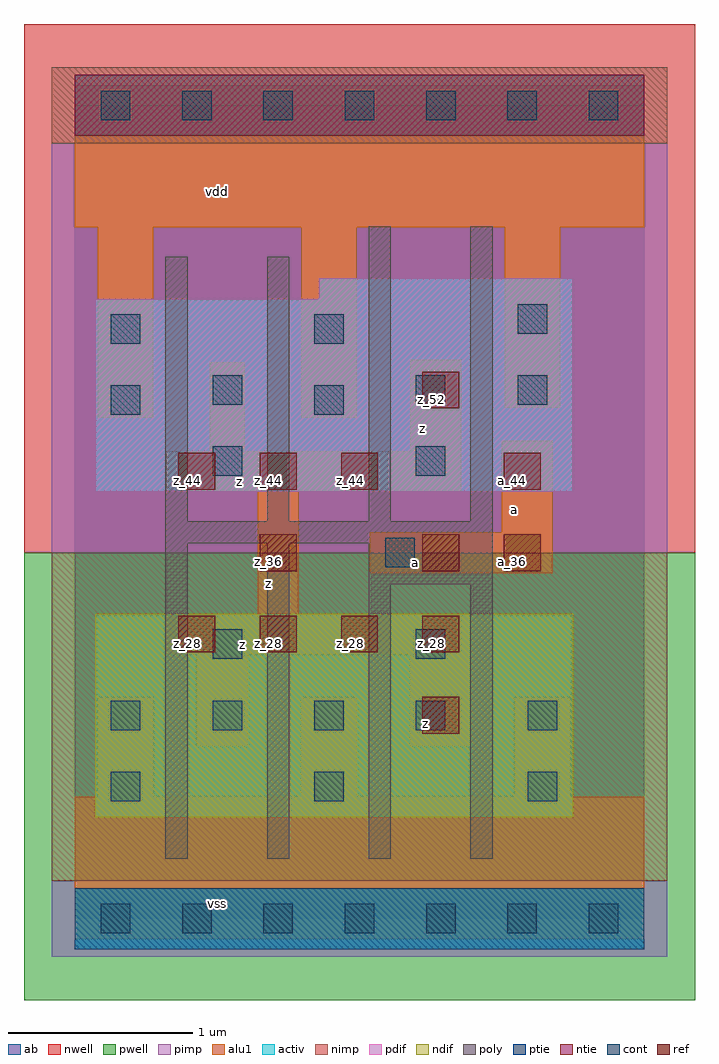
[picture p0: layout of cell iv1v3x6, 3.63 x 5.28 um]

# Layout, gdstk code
import gdstk
lib = gdstk.Library(unit=1e-6, precision=2.5e-09)
def R(c, l, rs):  # rectangles x0, y0, x1, y1
    for r in rs: c.add(gdstk.rectangle(r[:2], r[2:], *l))
def A(c, l, x, y, w, h, nx, ny, dx, dy):  # array of equal rectangles
    R(c, l, [(x+i*dx, y+j*dy, x+i*dx+w, y+j*dy+h) for i in range(nx) for j in range(ny)])
ndif = (3, 0)
pdif = (4, 0)
ntie = (5, 0)
ptie = (6, 0)
ref = (24, 0)
cont = (25, 0)
pwell = (41, 0)
nwell = (42, 0)
activ = (43, 0)
pimp = (44, 0)
nimp = (45, 0)
poly = (46, 0)
alu1 = (49, 0)
ab = (63, 0)

iv1v3x6 = lib.new_cell('iv1v3x6')
R(iv1v3x6, ndif, [(0.11,0.55,2.695,1.65)])
R(iv1v3x6, pdif, [(0.11,2.31,2.695,3.355), (1.32,3.355,2.695,3.465)])
R(iv1v3x6, ntie, [(0,4.235,3.08,4.565)])
R(iv1v3x6, ptie, [(0,-0.165,3.08,0.165)])
A(iv1v3x6, ref, 1.88, 1, 0.2, 0.2, 1, 3, 0, 0.88)
A(iv1v3x6, ref, 0.56, 1.44, 0.2, 0.2, 4, 1, 0.44, 0)
A(iv1v3x6, ref, 0.56, 2.32, 0.2, 0.2, 3, 1, 0.44, 0)
R(iv1v3x6, ref, [(1,1.88,1.2,2.08), (2.32,1.88,2.52,2.08), (2.32,2.32,2.52,2.52)])
A(iv1v3x6, cont, 0.14, -0.08, 0.16, 0.16, 7, 2, 0.44, 4.4)
A(iv1v3x6, cont, 0.195, 1.02, 0.16, 0.16, 4, 1, 0.55, 0)
R(iv1v3x6, cont, [(0.195,0.635,0.355,0.795), (1.295,0.635,1.455,0.795), (2.45,0.635,2.61,0.795), (2.45,1.02,2.61,1.18), (0.745,1.405,0.905,1.565), (1.845,1.405,2.005,1.565), (1.68,1.9,1.84,2.06), (0.745,2.395,0.905,2.555), (1.845,2.395,2.005,2.555), (0.195,2.725,0.355,2.885), (1.295,2.725,1.455,2.885), (0.745,2.78,0.905,2.94), (1.845,2.78,2.005,2.94), (2.395,2.78,2.555,2.94), (0.195,3.11,0.355,3.27), (1.295,3.11,1.455,3.27), (2.395,3.165,2.555,3.325)])
R(iv1v3x6, pwell, [(-0.275,-0.44,3.355,1.98)])
R(iv1v3x6, nwell, [(-0.275,1.98,3.355,4.84)])
R(iv1v3x6, activ, [(0,-0.165,3.08,0.165), (0.11,0.55,2.695,1.65), (0.11,2.31,2.695,3.355), (1.32,3.355,2.695,3.465), (0,4.235,3.08,4.565)])
R(iv1v3x6, pimp, [(-0.125,-0.205,3.205,0.205), (-0.125,1.98,3.205,4.195)])
R(iv1v3x6, nimp, [(-0.125,0.205,3.205,1.98), (-0.125,4.195,3.205,4.605)])
R(iv1v3x6, poly, [(0.49,0.325,0.61,2.03), (1.04,0.325,1.16,2.03), (1.59,0.325,1.71,1.81), (2.14,0.325,2.26,1.81), (1.59,1.81,2.26,2.03), (0.49,2.03,2.26,2.15), (0.49,2.15,0.61,3.58), (1.04,2.15,1.16,3.58), (1.59,2.15,1.71,3.745), (2.14,2.15,2.26,3.745)])
R(iv1v3x6, alu1, [(0,-0.11,3.08,0.66), (0.125,0.66,0.425,1.195), (1.225,0.66,1.525,1.195), (2.38,0.66,2.68,1.195), (0.66,0.935,0.935,1.43), (1.815,0.935,2.145,1.43), (0.495,1.43,2.145,1.65), (0.99,1.65,1.21,2.31), (1.595,1.87,2.585,2.09), (2.31,2.09,2.585,2.585), (0.495,2.31,2.09,2.53), (0.73,2.53,0.92,3.01), (1.815,2.53,2.09,3.025), (0.125,2.71,0.425,3.74), (1.225,2.71,1.525,3.74), (2.325,2.765,2.625,3.74), (0,3.74,3.08,4.51)])
R(iv1v3x6, ab, [(0,0,3.08,4.4)])
iv1v3x6.add(gdstk.Label('vss', (0.77,0.0825), layer=49, texttype=0))
iv1v3x6.add(gdstk.Label('z', (1.8975,1.0575), layer=49, texttype=0))
iv1v3x6.add(gdstk.Label('z', (0.9075,1.485), layer=49, texttype=0))
iv1v3x6.add(gdstk.Label('a', (1.8425,1.925), layer=49, texttype=0))
iv1v3x6.add(gdstk.Label('a', (2.3775,2.2125), layer=49, texttype=0))
iv1v3x6.add(gdstk.Label('z', (1.045,1.815), layer=49, texttype=0))
iv1v3x6.add(gdstk.Label('z', (0.8925,2.365), layer=49, texttype=0))
iv1v3x6.add(gdstk.Label('z', (1.8825,2.6525), layer=49, texttype=0))
iv1v3x6.add(gdstk.Label('vdd', (0.77,3.9325), layer=49, texttype=0))
iv1v3x6.add(gdstk.Label('z_28', (0.61,1.49), layer=24, texttype=0))
iv1v3x6.add(gdstk.Label('z_44', (0.61,2.37), layer=24, texttype=0))
iv1v3x6.add(gdstk.Label('z_28', (1.05,1.49), layer=24, texttype=0))
iv1v3x6.add(gdstk.Label('z_36', (1.05,1.93), layer=24, texttype=0))
iv1v3x6.add(gdstk.Label('z_44', (1.05,2.37), layer=24, texttype=0))
iv1v3x6.add(gdstk.Label('z_28', (1.49,1.49), layer=24, texttype=0))
iv1v3x6.add(gdstk.Label('z_44', (1.49,2.37), layer=24, texttype=0))
iv1v3x6.add(gdstk.Label('z_20', (1.93,1.05), layer=24, texttype=0))
iv1v3x6.add(gdstk.Label('z_28', (1.93,1.49), layer=24, texttype=0))
iv1v3x6.add(gdstk.Label('a_36', (1.93,1.93), layer=24, texttype=0))
iv1v3x6.add(gdstk.Label('z_52', (1.93,2.81), layer=24, texttype=0))
iv1v3x6.add(gdstk.Label('a_36', (2.37,1.93), layer=24, texttype=0))
iv1v3x6.add(gdstk.Label('a_44', (2.37,2.37), layer=24, texttype=0))

lib.write_gds('iv1v3x6.gds')
